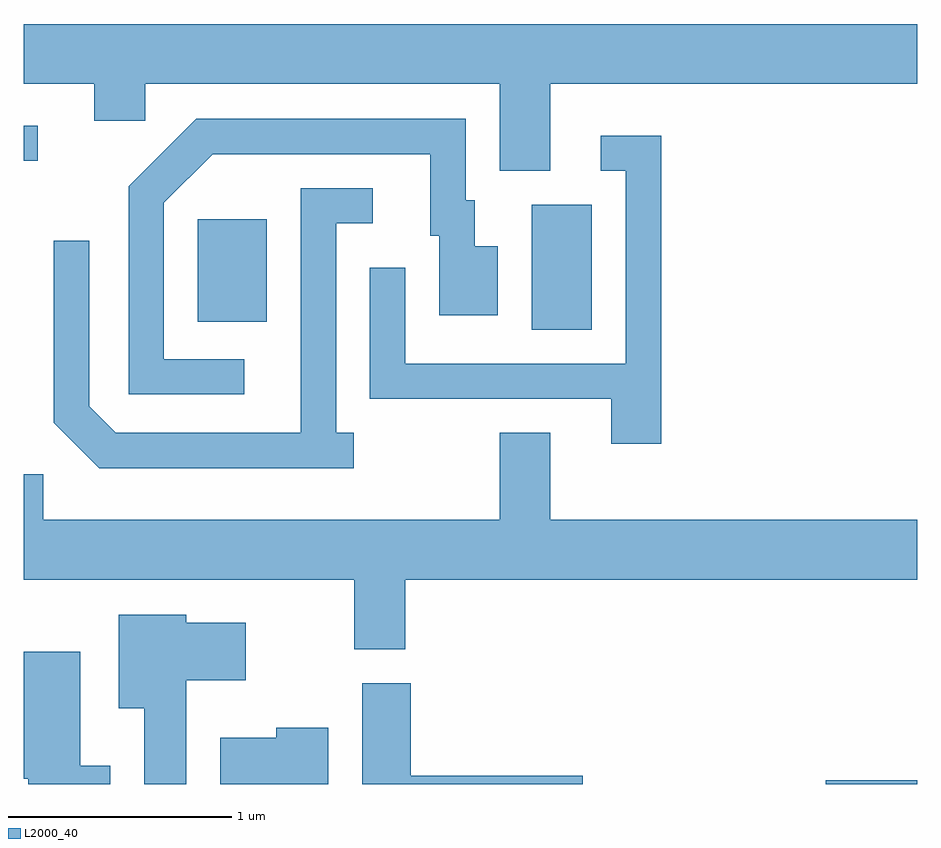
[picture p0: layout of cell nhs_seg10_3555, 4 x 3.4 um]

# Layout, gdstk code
import gdstk
lib = gdstk.Library(unit=1e-6, precision=1e-09)
def R(c, l, rs):  # rectangles x0, y0, x1, y1
    for r in rs: c.add(gdstk.rectangle(r[:2], r[2:], *l))
def P(c, l, *ps):  # polygons
    for p in ps: c.add(gdstk.Polygon(p, *l))
L2000_40 = (2000, 40)

nhs_seg10_3555 = lib.new_cell('nhs_seg10_3555')
R(nhs_seg10_3555, L2000_40, [(293.201,2148.522,293.611,2148.539), (291.886,2150.556,292.154,2151.114), (290.391,2150.591,290.699,2151.049), (289.611,2151.311,289.673,2151.469)])
P(nhs_seg10_3555, L2000_40, [(291.969,2151.656),(293.611,2151.656),(293.611,2151.924),(289.611,2151.924),(289.611,2151.656),(289.926,2151.656),(289.926,2151.491),(290.154,2151.491),(290.154,2151.656),(291.741,2151.656),(291.741,2151.266),(291.969,2151.266)],
  [(290.598,2150.424),(290.239,2150.424),(290.239,2151.124),(290.457,2151.341),(291.431,2151.341),(291.431,2150.976),(291.471,2150.976),(291.471,2150.621),(291.734,2150.621),(291.734,2150.929),(291.629,2150.929),(291.629,2151.134),(291.589,2151.134),(291.589,2151.499),(290.384,2151.499),(290.081,2151.197),(290.081,2150.266),(290.598,2150.266)],
  [(292.464,2151.424),(292.193,2151.424),(292.193,2151.266),(292.306,2151.266),(292.306,2150.404),(291.319,2150.404),(291.319,2150.833),(291.161,2150.833),(291.161,2150.246),(292.241,2150.246),(292.241,2150.046),(292.464,2150.046)],
  [(291.088,2150.094),(291.009,2150.094),(291.009,2151.031),(291.173,2151.031),(291.173,2151.189),(290.851,2151.189),(290.851,2150.094),(290.022,2150.094),(289.904,2150.212),(289.904,2150.953),(289.746,2150.953),(289.746,2150.139),(289.949,2149.936),(291.088,2149.936)],
  [(291.319,2149.436),(293.611,2149.436),(293.611,2149.704),(291.969,2149.704),(291.969,2150.094),(291.741,2150.094),(291.741,2149.704),(289.699,2149.704),(289.699,2149.909),(289.611,2149.909),(289.611,2149.436),(291.091,2149.436),(291.091,2149.126),(291.319,2149.126)],
  [(290.339,2148.986),(290.604,2148.986),(290.604,2149.244),(290.339,2149.244),(290.339,2149.279),(290.036,2149.279),(290.036,2148.861),(290.151,2148.861),(290.151,2148.522),(290.339,2148.522)],
  [(289.999,2148.604),(289.864,2148.604),(289.864,2149.114),(289.611,2149.114),(289.611,2148.546),(289.631,2148.546),(289.631,2148.522),(289.999,2148.522)],
  [(292.114,2148.559),(291.344,2148.559),(291.344,2148.974),(291.126,2148.974),(291.126,2148.522),(292.114,2148.522)],
  [(290.974,2148.774),(290.741,2148.774),(290.741,2148.729),(290.491,2148.729),(290.491,2148.522),(290.974,2148.522)])

lib.write_gds('nhs_seg10_3555.gds')
